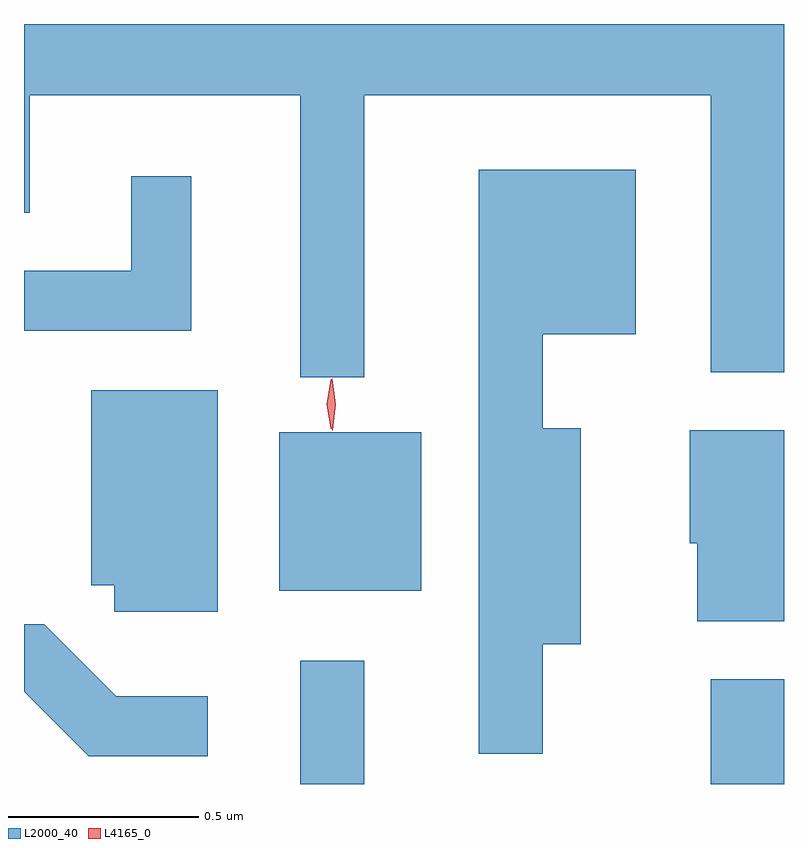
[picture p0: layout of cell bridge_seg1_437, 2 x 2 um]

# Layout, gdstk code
import gdstk
lib = gdstk.Library(unit=1e-6, precision=1e-09)
def R(c, l, rs):  # rectangles x0, y0, x1, y1
    for r in rs: c.add(gdstk.rectangle(r[:2], r[2:], *l))
def P(c, l, *ps):  # polygons
    for p in ps: c.add(gdstk.Polygon(p, *l))
L2000_40 = (2000, 40)
L4165_0 = (4165, 0)

bridge_seg1_437 = lib.new_cell('bridge_seg1_437')
R(bridge_seg1_437, L2000_40, [(195.741,917.743,195.909,918.068), (196.821,917.743,197.014,918.019), (195.686,918.251,196.059,918.669)])
P(bridge_seg1_437, L2000_40, [(195.909,919.556),(196.821,919.556),(196.821,918.826),(197.014,918.826),(197.014,919.743),(195.014,919.743),(195.014,919.246),(195.029,919.246),(195.029,919.556),(195.741,919.556),(195.741,918.813),(195.909,918.813)],
  [(196.379,918.111),(196.479,918.111),(196.479,918.679),(196.379,918.679),(196.379,918.926),(196.624,918.926),(196.624,919.359),(196.211,919.359),(196.211,917.823),(196.379,917.823)],
  [(195.454,919.343),(195.296,919.343),(195.296,919.094),(195.014,919.094),(195.014,918.936),(195.454,918.936)],
  [(195.524,918.779),(195.191,918.779),(195.191,918.266),(195.251,918.266),(195.251,918.196),(195.524,918.196)],
  [(197.014,918.674),(196.766,918.674),(196.766,918.376),(196.786,918.376),(196.786,918.171),(197.014,918.171)],
  [(195.498,917.974),(195.257,917.974),(195.067,918.164),(195.014,918.164),(195.014,917.986),(195.184,917.816),(195.498,917.816)])
P(bridge_seg1_437, L4165_0, [(195.821,918.678),(195.821,918.678),(195.811,918.742),(195.821,918.807),(195.821,918.807),(195.822,918.807),(195.831,918.742),(195.822,918.678)],
  [(195.825,918.674),(195.825,918.674),(195.815,918.742),(195.824,918.81),(195.825,918.81),(195.825,918.81),(195.835,918.742),(195.826,918.674)])

lib.write_gds('bridge_seg1_437.gds')
